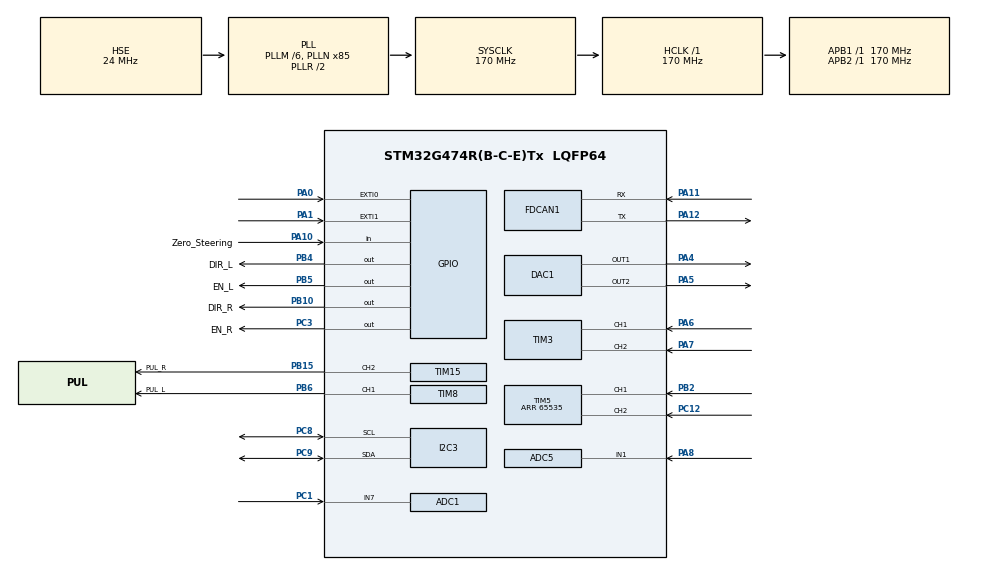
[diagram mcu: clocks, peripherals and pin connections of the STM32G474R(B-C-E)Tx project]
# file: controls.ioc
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ADC1.Channel-1\#ChannelRegularConversion=ADC_CHANNEL_7
ADC1.NbrOfConversionFlag=1
ADC1.OffsetNumber-1\#ChannelRegularConversion=ADC_OFFSET_NONE
ADC1.Rank-1\#ChannelRegularConversion=1
ADC1.SamplingTime-1\#ChannelRegularConversion=ADC_SAMPLETIME_2CYCLES_5
ADC1.master=1
ADC5.Channel-0\#ChannelRegularConversion=ADC_CHANNEL_1
ADC5.NbrOfConversionFlag=1
ADC5.OffsetNumber-0\#ChannelRegularConversion=ADC_OFFSET_NONE
ADC5.Rank-0\#ChannelRegularConversion=1
ADC5.SamplingTime-0\#ChannelRegularConversion=ADC_SAMPLETIME_47CYCLES_5
DAC1.DAC_Channel-DAC_OUT2=DAC_CHANNEL_2
FDCAN1.AutoRetransmission=ENABLE
FDCAN1.CalculateBaudRateNominal=499999
FDCAN1.CalculateTimeBitNominal=2000
FDCAN1.CalculateTimeQuantumNominal=11.764705882352942
FDCAN1.DataPrescaler=17
FDCAN1.DataSyncJumpWidth=6
FDCAN1.DataTimeSeg1=13
FDCAN1.DataTimeSeg2=6
FDCAN1.FrameFormat=FDCAN_FRAME_FD_NO_BRS
FDCAN1.NominalPrescaler=2
FDCAN1.NominalSyncJumpWidth=39
FDCAN1.NominalTimeSeg1=130
FDCAN1.NominalTimeSeg2=39
FDCAN1.StdFiltersNbr=1
FDCAN1.TransmitPause=ENABLE
FDCAN1.TxFifoQueueMode=FDCAN_TX_QUEUE_OPERATION
I2C3.Timing=0x40B285C2
Mcu.Family=STM32G4
Mcu.Name=STM32G474R(B-C-E)Tx
Mcu.Package=LQFP64
NUCLEO-G474RE.BUTTON=0
NUCLEO-G474RE.LD2=false
NUCLEO-G474RE.VCP=true
NVIC.EXTI0_IRQn=true\:0\:0\:false\:false\:true\:true\:true\:true
NVIC.EXTI1_IRQn=true\:0\:0\:false\:false\:true\:true\:true\:true
NVIC.PriorityGroup=NVIC_PRIORITYGROUP_4
NVIC.TIM2_IRQn=true\:0\:0\:false\:false\:true\:true\:true\:true
PA0.GPIO_ModeDefaultEXTI=GPIO_MODE_IT_RISING_FALLING
PA0.GPIO_PuPd=GPIO_PULLUP
PA0.Signal=GPXTI0
PA1.GPIO_ModeDefaultEXTI=GPIO_MODE_IT_RISING_FALLING
PA1.GPIO_PuPd=GPIO_PULLUP
PA1.Signal=GPXTI1
PA10.GPIO_Label=Zero_Steering
PA10.GPIO_PuPd=GPIO_PULLDOWN
PA10.Signal=GPIO_Input
PA11.Mode=FDCAN_Activate
PA11.Signal=FDCAN1_RX
PA12.Mode=FDCAN_Activate
PA12.Signal=FDCAN1_TX
PA2.Signal=LPUART1_TX
PA3.Signal=LPUART1_RX
PA4.Signal=COMP_DAC11_group
PA5.Signal=COMP_DAC12_group
PA6.Signal=S_TIM3_CH1
PA7.Signal=S_TIM3_CH2
PA8.Mode=IN1-Single-Ended
PA8.Signal=ADC5_IN1
PB10.GPIO_Label=DIR_R
PB10.Signal=GPIO_Output
PB15.GPIO_Label=PUL_R
PB15.Signal=S_TIM15_CH2
PB2.Signal=S_TIM5_CH1
PB4.GPIO_Label=DIR_L
PB4.Signal=GPIO_Output
PB5.GPIO_Label=EN_L
PB5.Signal=GPIO_Output
PB6.GPIO_Label=PUL_L
PB6.Signal=S_TIM8_CH1
PC1.Mode=IN7-Single-Ended
PC1.Signal=ADC1_IN7
PC12.Signal=S_TIM5_CH2
PC3.GPIO_Label=EN_R
PC3.Signal=GPIO_Output
PC8.Mode=I2C
PC8.Signal=I2C3_SCL
PC9.Mode=I2C
PC9.Signal=I2C3_SDA
PF0-OSC_IN.Mode=HSE-External-Oscillator
PF0-OSC_IN.Signal=RCC_OSC_IN
PF1-OSC_OUT.Mode=HSE-External-Oscillator
PF1-OSC_OUT.Signal=RCC_OSC_OUT
ProjectManager.HeapSize=0x200
ProjectManager.StackSize=0x400
ProjectManager.TargetToolchain=STM32CubeIDE
RCC.ADC12Freq_Value=170000000
RCC.ADC345Freq_Value=170000000
RCC.AHBFreq_Value=170000000
RCC.APB1Freq_Value=170000000
RCC.APB1TimFreq_Value=170000000
RCC.APB2Freq_Value=170000000
RCC.APB2TimFreq_Value=170000000
RCC.CortexFreq_Value=170000000
RCC.EXTERNAL_CLOCK_VALUE=12288000
RCC.HCLKFreq_Value=170000000
RCC.HSE_VALUE=24000000
RCC.HSI48_VALUE=48000000
RCC.HSI_VALUE=16000000
RCC.LSE_VALUE=32768
RCC.PLLM=RCC_PLLM_DIV6
RCC.PLLN=85
RCC.PLLSourceVirtual=RCC_PLLSOURCE_HSE
RCC.RTCClockSelection=RCC_RTCCLKSOURCE_LSE
RCC.SYSCLKFreq_VALUE=170000000
RCC.SYSCLKSource=RCC_SYSCLKSOURCE_PLLCLK
RCC.USBFreq_Value=170000000
RCC.VCOOutputFreq_Value=340000000
SH.COMP_DAC11_group.0=DAC1_OUT1,DAC_OUT1
SH.COMP_DAC12_group.0=DAC1_OUT2,DAC_OUT2
SH.S_TIM15_CH2.0=TIM15_CH2,PWM Generation2 CH2
SH.S_TIM3_CH1.0=TIM3_CH1,Encoder_Interface
SH.S_TIM3_CH2.0=TIM3_CH2,Encoder_Interface
SH.S_TIM5_CH1.0=TIM5_CH1,Encoder_Interface
SH.S_TIM5_CH2.0=TIM5_CH2,Encoder_Interface
SH.S_TIM8_CH1.0=TIM8_CH1,PWM Generation1 CH1
TIM15.Channel-PWM\ Generation2\ CH2=TIM_CHANNEL_2
TIM15.Prescaler=169
TIM2.Prescaler=169
TIM3.EncoderMode=TIM_ENCODERMODE_TI12
TIM5.EncoderMode=TIM_ENCODERMODE_TI12
TIM5.PeriodNoDither=65535
TIM8.Channel-PWM\ Generation1\ CH1=TIM_CHANNEL_1
VP_NUCLEO-G474RE_VS_BSP_COMMON.Mode=COMMON
VP_SYS_VS_DBSignals.Mode=DisableDeadBatterySignals
VP_TIM15_VS_ClockSourceINT.Mode=Internal
VP_TIM2_VS_ClockSourceINT.Mode=Internal
VP_TIM8_VS_ClockSourceINT.Mode=Internal
board=NUCLEO-G474RE

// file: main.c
/* USER CODE BEGIN Header */
/**
 ******************************************************************************
 * @file    main.c
 * @Authors: Tim and Daniel
 * @brief   Dual closed-loop stepper control - Solar Boat project
 *          Regen-safe: every custom edit lives inside a USER CODE block.
 *
 *   Control architecture:
 *
 *     AS5600 wheel (ADC5_IN1 / PA8) ── steering_tick() ──> shared target_deg
 *                                                              │
 *                                       ┌──────────────────────┴────────────────────┐
 *                                       ▼                                           ▼
 *                              LEFT P controller                          RIGHT P controller
 *                              err = target - enc_L                       err = target - enc_R
 *                                       │                                           │
 *                                       ▼                                           ▼
 *                              stepper_run(&stepper_left,  cmd_L)         stepper_run(&stepper_right, cmd_R)
 *
 *   Each motor closes the loop on its OWN encoder, so a stall or slip in
 *   one motor doesn't affect the other.  They share the setpoint from the
 *   AS5600 steering wheel.
 *
 *   Position-control API:
 *       stepper_set_target_deg() / stepper_move_deg()
 *       stepper_get_target_deg()
 *       stepper_get_left_deg()  / stepper_get_right_deg()
 *       stepper_at_target()  (both axes within deadband)
 *       stepper_position_tick()
 *
 *   Two encoders, one per motor:
 *       TIM3 (PA6/PA7)  -> LEFT  motor  -> encoder_left_get_deg()
 *       TIM5            -> RIGHT motor  -> encoder_right_get_deg()
 *   encoder_zero() captures both at startup.
 *
 *   Regen-safe overrides (do not move out of USER CODE blocks):
 *     - USER CODE BEGIN TIM2_Init 2  : PSC = STEP_TIM_PSC + EGR.UG
 *     - USER CODE BEGIN TIM8_Init 2  : PSC = STEP_TIM_PSC + EGR.UG
 *     - USER CODE BEGIN TIM15_Init 2 : PSC = STEP_TIM_PSC + EGR.UG
 ******************************************************************************
 */
/* USER CODE END Header */
#include "main.h"

/* USER CODE BEGIN Includes */
#include <stdio.h>
#include <math.h>
/* USER CODE END Includes */

/* USER CODE BEGIN PTD */
typedef struct {
    /* Hardware */
    TIM_HandleTypeDef *htim;
    uint32_t           channel;
    GPIO_TypeDef      *dir_port;
    uint16_t           dir_pin;
    GPIO_TypeDef      *en_port;
    uint16_t           en_pin;
    uint8_t            invert_dir;

    /* Runtime state */
    uint8_t  enabled;
    uint8_t  enable_wait;
    uint32_t enable_tick;
    uint8_t  dir;
    uint8_t  dir_chg;
    uint32_t dir_tick;
    float    speed;
    float    rate_out;
} stepper_t;
/* USER CODE END PTD */

/* USER CODE BEGIN PD */
/* --- Timer / pulse-rate base settings --- */
#define STEP_TIM_PSC               169U
#define STEP_TIM_CLK_HZ            1000000.0f
#define STEPS_PER_REV              3200UL

#define STEP_RATE_MAX              60000.0f
#define STEP_RATE_MIN              200.0f

#define RAMP_UP_SLEW               800.0f
#define RAMP_DOWN_SLEW             2000.0f
#define DIR_CHANGE_RAMP_HZ         2000.0f

#define STEPPER_ENABLE_SETTLE_MS   5U
#define DIR_CHANGE_SETTLE_MS       2U

#define RATE_STEPPER_MS            2U

/* --- Mechanical / position control --- */
#define GEAR_RATIO                 20.0f
#define STEPS_PER_OUT_DEG          ((float)STEPS_PER_REV * GEAR_RATIO / 360.0f)
#define POS_PEAK_PPS               RPM_TO_PPS(400.0f)
#define POS_KP                     30.0f
#define POS_DEADBAND_STEPS         250.0f  // ±1.5° of deadband

/* --- Encoder readback ---
 * One sign per encoder so each can be flipped independently on the bench. */
#define ENCODER_SIGN_LEFT          -1.0f
#define ENCODER_SIGN_RIGHT         -1.0f
#define ENCODER_COUNTS_PER_REV     4000U

/* --- AS5600 steering wheel input (analog on ADC5_IN1 / PA8) --- */
#define AS5600_SIGN                +1.0f
#define AS5600_FILT_ALPHA          0.15f
#define AS5600_OVERSAMPLE          8
#define AS5600_FAIL_LIMIT          5U

/* --- Steering wheel -> rudder mapping ---
 * STEER_RUDDER_RANGE_DEG : max rudder target in degrees (saturates).
 * STEER_GAIN             : output_deg per wheel_deg.  1.0 = 1:1.
 * STEER_TARGET_DEADBAND_DEG : if |wheel| < this, target = 0. */
#define STEER_RUDDER_RANGE_DEG     35.0f
#define STEER_GAIN                 0.5f  // 2:1 wheel:rudder
#define STEER_TARGET_DEADBAND_DEG  1.0f
/* USER CODE END PD */

/* USER CODE BEGIN PM */
#define RPM_TO_PPS(rpm)    ((float)(rpm) * (float)STEPS_PER_REV / 60.0f)
#define PPS_TO_RPM(pps)    ((float)(pps) * 60.0f / (float)STEPS_PER_REV)
/* USER CODE END PM */

COM_InitTypeDef BspCOMInit;
ADC_HandleTypeDef hadc1;
ADC_HandleTypeDef hadc5;

DAC_HandleTypeDef hdac1;

FDCAN_HandleTypeDef hfdcan1;

I2C_HandleTypeDef hi2c3;

TIM_HandleTypeDef htim2;
TIM_HandleTypeDef htim3;
TIM_HandleTypeDef htim5;
TIM_HandleTypeDef htim8;
TIM_HandleTypeDef htim15;

/* USER CODE BEGIN PV */
stepper_t stepper_left = {
    .htim       = &htim8,
    .channel    = TIM_CHANNEL_1,
    .dir_port   = GPIOB,
    .dir_pin    = DIR_L_Pin,
    .en_port    = GPIOB,
    .en_pin     = EN_L_Pin,
    .invert_dir = 0
};

stepper_t stepper_right = {
    .htim       = &htim15,
    .channel    = TIM_CHANNEL_2,
    .dir_port   = GPIOB,
    .dir_pin    = DIR_R_Pin,
    .en_port    = GPIOC,
    .en_pin     = EN_R_Pin,
    .invert_dir = 0
};

/* Loop scheduling */
static uint32_t last_tick   = 0;
static uint32_t last_print  = 0;

/* Encoder zero references - stored as raw uint16 counter snapshots so the
 * delta computation is wrap-correct via modular subtraction. */
static uint16_t encoder_left_zero_raw  = 0;
static uint16_t encoder_right_zero_raw = 0;

/* Position-control state.  Units = MOTOR steps.  One target shared by
 * both axes (both motors track the same wheel-derived angle), but each
 * axis has its own measured-position cache fed from its own encoder. */
static float    pos_target_steps        = 0.0f;
static float    pos_current_left_steps  = 0.0f;
static float    pos_current_right_steps = 0.0f;

/* AS5600 steering-wheel feedback state. */
static float    as5600_deg          = 0.0f;
static float    as5600_zero_deg     = -1.0f;
static uint8_t  as5600_ok           = 0U;
static uint16_t as5600_fail_count   = 0U;
/* USER CODE END PV */

void SystemClock_Config(void);
static void MX_GPIO_Init(void);
static void MX_I2C3_Init(void);
static void MX_ADC1_Init(void);
static void MX_TIM2_Init(void);
static void MX_FDCAN1_Init(void);
static void MX_TIM8_Init(void);
static void MX_DAC1_Init(void);
static void MX_TIM15_Init(void);
static void MX_TIM3_Init(void);
static void MX_ADC5_Init(void);
static void MX_TIM5_Init(void);
/* USER CODE BEGIN PFP */
static void stepper_write_rate(stepper_t *s, float rate_pps);
static void stepper_write_dir(stepper_t *s, uint8_t positive);
static void stepper_write_enable(stepper_t *s, uint8_t enable);
void stepper_init(stepper_t *s);
void stepper_hard_stop(stepper_t *s);
void stepper_run(stepper_t *s, float cmd_pps);
void stepper_run_both(float cmd_pps);
void stepper_stop_both(void);

static void  encoder_zero(void);
static float encoder_left_get_deg(void);
static float encoder_right_get_deg(void);

void    stepper_set_target_deg(float output_deg);
void    stepper_move_deg(float output_deg_delta);
float   stepper_get_target_deg(void);
float   stepper_get_left_deg(void);
float   stepper_get_right_deg(void);
uint8_t stepper_at_target(void);
void    stepper_position_tick(void);

/* AS5600 steering-wheel input */
static float as5600_read_deg(void);
static void  as5600_tick(void);
float        as5600_get_wheel_deg(void);
void         as5600_zero_capture(void);
uint8_t      as5600_is_healthy(void);
void         steering_tick(void);
/* USER CODE END PFP */

/* USER CODE BEGIN 0 */
static void stepper_write_rate(stepper_t *s, float rate_pps)
{
    if (rate_pps < STEP_RATE_MIN)
    {
        __HAL_TIM_SET_COMPARE(s->htim, s->channel, 0U);
        s->htim->Instance->EGR = TIM_EGR_UG;
        return;
    }

    if (rate_pps > STEP_RATE_MAX) rate_pps = STEP_RATE_MAX;

    uint32_t arr = (uint32_t)((STEP_TIM_CLK_HZ / rate_pps) - 1.0f);

    if (arr < 10U)    arr = 10U;
    if (arr > 65535U) arr = 65535U;

    __HAL_TIM_SET_AUTORELOAD(s->htim, arr);
    __HAL_TIM_SET_COMPARE(s->htim, s->channel, arr / 2U);
    s->htim->Instance->EGR = TIM_EGR_UG;
}

static void stepper_write_dir(stepper_t *s, uint8_t positive)
{
    uint8_t actual = s->invert_dir ? (uint8_t)(!positive) : positive;
    HAL_GPIO_WritePin(s->dir_port, s->dir_pin,
                      actual ? GPIO_PIN_SET : GPIO_PIN_RESET);
}

static void stepper_write_enable(stepper_t *s, uint8_t enable)
{
    HAL_GPIO_WritePin(s->en_port, s->en_pin,
                      enable ? GPIO_PIN_RESET : GPIO_PIN_SET);
}

void stepper_init(stepper_t *s)
{
    stepper_write_rate(s, 0.0f);
    stepper_write_enable(s, 0);

    s->enabled      = 0U;
    s->enable_wait  = 0U;
    s->enable_tick  = 0U;
    s->dir          = 1U;
    s->dir_chg      = 0U;
    s->dir_tick     = 0U;
    s->speed        = 0.0f;
    s->rate_out     = 0.0f;

    s->htim->Instance->BDTR |= TIM_BDTR_MOE;
}

void stepper_hard_stop(stepper_t *s)
{
    stepper_write_rate(s, 0.0f);
    stepper_write_enable(s, 0);

    s->enabled      = 0U;
    s->enable_wait  = 0U;
    s->speed        = 0.0f;
    s->rate_out     = 0.0f;
}

void stepper_run(stepper_t *s, float cmd_pps)
{
    uint32_t now      = HAL_GetTick();
    uint8_t  want_dir = (cmd_pps >= 0.0f) ? 1U : 0U;
    float    target   = fabsf(cmd_pps);

    if (target > STEP_RATE_MAX) target = STEP_RATE_MAX;

    if (s->enable_wait)
    {
        if ((now - s->enable_tick) < STEPPER_ENABLE_SETTLE_MS)
        {
            stepper_write_rate(s, 0.0f);
            s->rate_out = 0.0f;
            return;
        }
        s->enable_wait = 0U;
        s->enabled     = 1U;
        if (s->speed < STEP_RATE_MIN) s->speed = STEP_RATE_MIN;
    }

    if (s->dir_chg)
    {
        if ((now - s->dir_tick) < DIR_CHANGE_SETTLE_MS)
        {
            stepper_write_rate(s, 0.0f);
            s->rate_out = 0.0f;
            return;
        }
        s->dir_chg = 0U;
        s->speed   = STEP_RATE_MIN;
    }

    if ((target >= STEP_RATE_MIN) && (want_dir != s->dir))
    {
        if (s->speed > DIR_CHANGE_RAMP_HZ)
        {
            s->speed -= RAMP_DOWN_SLEW;
            if (s->speed < DIR_CHANGE_RAMP_HZ) s->speed = DIR_CHANGE_RAMP_HZ;

            if (!s->enabled && !s->enable_wait)
            {
                stepper_write_dir(s, s->dir);
                stepper_write_enable(s, 1);
                s->enable_wait = 1U;
                s->enable_tick = now;
                s->rate_out    = 0.0f;
                return;
            }

            stepper_write_rate(s, s->speed);
            s->rate_out = s->dir ? s->speed : -s->speed;
            return;
        }

        stepper_write_rate(s, 0.0f);
        s->dir = want_dir;
        stepper_write_dir(s, s->dir);
        s->dir_chg  = 1U;
        s->dir_tick = now;
        s->speed    = 0.0f;
        s->rate_out = 0.0f;
        return;
    }

    if (target < STEP_RATE_MIN)
    {
        if (s->speed > 0.0f)
        {
            s->speed -= RAMP_DOWN_SLEW;
            if (s->speed <= STEP_RATE_MIN)
            {
                stepper_hard_stop(s);
                return;
            }
        }
        else
        {
            stepper_hard_stop(s);
            return;
        }
    }
    else if (s->speed < target)
    {
        s->speed += RAMP_UP_SLEW;
        if (s->speed > target) s->speed = target;
    }
    else if (s->speed > target)
    {
        s->speed -= RAMP_DOWN_SLEW;
        if (s->speed < target) s->speed = target;
        if (s->speed < STEP_RATE_MIN)
        {
            stepper_hard_stop(s);
            return;
        }
    }

    if (!s->enabled && !s->enable_wait)
    {
        stepper_write_dir(s, s->dir);
        stepper_write_enable(s, 1);
        s->enable_wait = 1U;
        s->enable_tick = now;
        s->rate_out    = 0.0f;
        return;
    }

    stepper_write_rate(s, s->speed);
    s->rate_out = s->dir ? s->speed : -s->speed;
}

void stepper_run_both(float cmd_pps)
{
    stepper_run(&stepper_left,  cmd_pps);
    stepper_run(&stepper_right, cmd_pps);
}

void stepper_stop_both(void)
{
    stepper_hard_stop(&stepper_left);
    stepper_hard_stop(&stepper_right);
}

/* ---------------------------------------------------------------------------
 * Encoder readback - one timer per motor in TIM_ENCODERMODE_TI12.
 *
 *   TIM3 quadrature on PA6/PA7  -> LEFT  motor
 *   TIM5 quadrature on its pins -> RIGHT motor
 *
 * Wrap-correct delta: we snapshot the raw uint16 counter at zero, then
 * each read subtracts uint16 - uint16 (modular) and casts the result to
 * int16 for the signed shortest path.  This gives correct deltas across
 * the 0x0000/0xFFFF boundary regardless of where the counter happened to
 * be at startup, as long as motion between calls stays under ±32767
 * quadrature edges (which is ±147 deg at output with our gear ratio -
 * far more than the rudder will ever move per call).
 * --------------------------------------------------------------------------- */
static void encoder_zero(void)
{
    encoder_left_zero_raw  = (uint16_t)__HAL_TIM_GET_COUNTER(&htim3);
    encoder_right_zero_raw = (uint16_t)__HAL_TIM_GET_COUNTER(&htim5);
}

static float encoder_left_get_deg(void)
{
    uint16_t now = (uint16_t)__HAL_TIM_GET_COUNTER(&htim3);
    int16_t  delta = (int16_t)(now - encoder_left_zero_raw);
    return ENCODER_SIGN_LEFT *
           ((float)delta * 360.0f) /
           ((float)ENCODER_COUNTS_PER_REV * GEAR_RATIO);
}

static float encoder_right_get_deg(void)
{
    uint16_t now = (uint16_t)__HAL_TIM_GET_COUNTER(&htim5);
    int16_t  delta = (int16_t)(now - encoder_right_zero_raw);
    return ENCODER_SIGN_RIGHT *
           ((float)delta * 360.0f) /
           ((float)ENCODER_COUNTS_PER_REV * GEAR_RATIO);
}

/* ---------------------------------------------------------------------------
 * Wrap-aware angle helpers (used by the AS5600 IIR filter so a step from
 * 359 -> 1 reads as +2 instead of -358).
 * --------------------------------------------------------------------------- */
static float angle_wrap_360(float deg)
{
    while (deg >= 360.0f) deg -= 360.0f;
    while (deg <    0.0f) deg += 360.0f;
    return deg;
}

static float angle_diff_deg(float target, float current)
{
    float d = target - current;
    while (d >  180.0f) d -= 360.0f;
    while (d < -180.0f) d += 360.0f;
    return d;
}

/* ---------------------------------------------------------------------------
 * AS5600 analog read on ADC5_IN1 (PA8) - 0..3V3 = 0..360 deg.  Oversamples
 * AS5600_OVERSAMPLE times to knock down noise.  Returns -1.0 on error.
 * --------------------------------------------------------------------------- */
static float as5600_read_deg(void)
{
    uint32_t sum = 0;
    for (int i = 0; i < AS5600_OVERSAMPLE; i++)
    {
        HAL_ADC_Start(&hadc5);
        if (HAL_ADC_PollForConversion(&hadc5, 5) != HAL_OK)
        {
            HAL_ADC_Stop(&hadc5);
            return -1.0f;
        }
        sum += HAL_ADC_GetValue(&hadc5);
        HAL_ADC_Stop(&hadc5);
    }
    uint16_t avg = (uint16_t)(sum / AS5600_OVERSAMPLE);
    return ((float)avg * 360.0f) / 4096.0f;
}

static void as5600_tick(void)
{
    float v = as5600_read_deg();

    if (v >= 0.0f)
    {
        if (as5600_zero_deg < 0.0f)
        {
            /* First valid read: seed filter AND capture boot zero. */
            as5600_deg      = v;
            as5600_zero_deg = v;
        }
        else
        {
            float d = angle_diff_deg(v, as5600_deg);
            as5600_deg = angle_wrap_360(as5600_deg + AS5600_FILT_ALPHA * d);
        }
        as5600_ok         = 1U;
        as5600_fail_count = 0U;
    }
    else
    {
        if (as5600_fail_count < 0xFFFFU) as5600_fail_count++;
        if (as5600_fail_count >= AS5600_FAIL_LIMIT) as5600_ok = 0U;
    }
}

float as5600_get_wheel_deg(void)
{
    if (as5600_zero_deg < 0.0f) return 0.0f;
    return AS5600_SIGN * angle_diff_deg(as5600_deg, as5600_zero_deg);
}

void as5600_zero_capture(void)
{
    if (as5600_ok) as5600_zero_deg = as5600_deg;
}

uint8_t as5600_is_healthy(void)
{
    return as5600_ok;
}

/* ---------------------------------------------------------------------------
 * Steering tick - reads AS5600, runs button re-zero, computes the rudder
 * target with gain/deadband/clamp, pushes it into the position controller.
 * If the wheel sensor is unhealthy, target is FROZEN (rudder holds).
 * --------------------------------------------------------------------------- */
void steering_tick(void)
{
    as5600_tick();

    /* Optional runtime re-zero: hold the Zero_Steering button (PULLDOWN,
     * HIGH = pressed) while the wheel is centred to reset the logical zero. */
    if (HAL_GPIO_ReadPin(Zero_Steering_GPIO_Port, Zero_Steering_Pin) == GPIO_PIN_SET)
    {
        as5600_zero_capture();
    }

    if (!as5600_is_healthy()) return;

    float wheel  = as5600_get_wheel_deg();
    float target = wheel * STEER_GAIN;

    if (fabsf(target) < STEER_TARGET_DEADBAND_DEG) target = 0.0f;
    if (target >  STEER_RUDDER_RANGE_DEG) target =  STEER_RUDDER_RANGE_DEG;
    if (target < -STEER_RUDDER_RANGE_DEG) target = -STEER_RUDDER_RANGE_DEG;

    stepper_set_target_deg(target);
}

/* ---------------------------------------------------------------------------
 * Position control API - CLOSED-LOOP per axis.
 *
 *   stepper_set_target_deg(d)   absolute target in OUTPUT degrees (shared
 *                               by both motors)
 *   stepper_move_deg(d)         relative shift of target
 *   stepper_get_target_deg()    current target
 *   stepper_get_left_deg()      LEFT  measured position (encoder TIM3)
 *   stepper_get_right_deg()     RIGHT measured position (encoder TIM5)
 *   stepper_at_target()         1 when BOTH axes are within deadband
 *   stepper_position_tick()     run one control tick (every RATE_STEPPER_MS)
 *
 * Each motor runs an independent P controller against its OWN encoder.
 * That means if the left motor stalls, only the left motor sees high
 * error and gets pushed harder; the right motor isn't fighting against
 * the left's failure.  If they were sharing a single command (as in
 * stepper_run_both), a stalled left motor would still get a small
 * command because pos_current_steps would be near target.
 * --------------------------------------------------------------------------- */
void stepper_set_target_deg(float output_deg)
{
    pos_target_steps = output_deg * STEPS_PER_OUT_DEG;
}

void stepper_move_deg(float output_deg_delta)
{
    pos_target_steps += output_deg_delta * STEPS_PER_OUT_DEG;
}

float stepper_get_target_deg(void)
{
    return pos_target_steps / STEPS_PER_OUT_DEG;
}

float stepper_get_left_deg(void)
{
    return encoder_left_get_deg();
}

float stepper_get_right_deg(void)
{
    return encoder_right_get_deg();
}

uint8_t stepper_at_target(void)
{
    float err_l = pos_target_steps - pos_current_left_steps;
    float err_r = pos_target_steps - pos_current_right_steps;
    return (fabsf(err_l) < POS_DEADBAND_STEPS) &&
           (fabsf(err_r) < POS_DEADBAND_STEPS);
}

/* Per-axis P controller.  Called twice per tick - once per motor.
 * Reads THIS motor's encoder, computes THIS motor's error against the
 * shared target, commands ONLY this motor. */
static void axis_position_tick(stepper_t *s,
                               float    measured_deg,
                               float   *current_steps_out)
{
    *current_steps_out = measured_deg * STEPS_PER_OUT_DEG;

    float error = pos_target_steps - *current_steps_out;
    float cmd_pps;

    if (fabsf(error) < POS_DEADBAND_STEPS)
    {
        cmd_pps = 0.0f;
    }
    else
    {
        cmd_pps = error * POS_KP;
        if (cmd_pps >  POS_PEAK_PPS) cmd_pps =  POS_PEAK_PPS;
        if (cmd_pps < -POS_PEAK_PPS) cmd_pps = -POS_PEAK_PPS;
    }

    stepper_run(s, cmd_pps);
}

void stepper_position_tick(void)
{
    /* LEFT axis - closes on TIM3 encoder, commands only stepper_left. */
    axis_position_tick(&stepper_left,
                       encoder_left_get_deg(),
                       &pos_current_left_steps);

    /* RIGHT axis - closes on TIM5 encoder, commands only stepper_right. */
    axis_position_tick(&stepper_right,
                       encoder_right_get_deg(),
                       &pos_current_right_steps);
}
/* USER CODE END 0 */

int main(void)
{

  /* MCU Configuration--------------------------------------------------------*/

  /* Reset of all peripherals, Initializes the Flash interface and the Systick. */
  HAL_Init();

  /* Configure the system clock */
  SystemClock_Config();

  /* Initialize all configured peripherals */
  MX_GPIO_Init();
  MX_I2C3_Init();
  MX_ADC1_Init();
  MX_TIM2_Init();
  MX_FDCAN1_Init();
  MX_TIM8_Init();
  MX_DAC1_Init();
  MX_TIM15_Init();
  MX_TIM3_Init();
  MX_ADC5_Init();
  MX_TIM5_Init();
  /* USER CODE BEGIN 2 */
  HAL_TIM_Base_Start(&htim2);

  HAL_TIM_PWM_Start(&htim8,  TIM_CHANNEL_1);
  HAL_TIM_PWM_Start(&htim15, TIM_CHANNEL_2);

  stepper_init(&stepper_left);
  stepper_init(&stepper_right);

  /* Start both encoder timers BEFORE encoder_zero() so both snapshots
   * are taken with the counters live. */
  if (HAL_TIM_Encoder_Start(&htim3, TIM_CHANNEL_ALL) != HAL_OK)
      Error_Handler();
  if (HAL_TIM_Encoder_Start(&htim5, TIM_CHANNEL_ALL) != HAL_OK)
      Error_Handler();
  encoder_zero();

  /* Try to prime the AS5600 so the boot-zero is captured before the
   * control loop runs.  Non-fatal if it doesn't respond - steering_tick()
   * will keep the target frozen at 0 until the sensor recovers. */
  for (int i = 0; i < 50 && !as5600_is_healthy(); i++)
  {
      as5600_tick();
      HAL_Delay(2);
  }

  BspCOMInit.BaudRate   = 115200;
  BspCOMInit.WordLength = COM_WORDLENGTH_8B;
  BspCOMInit.StopBits   = COM_STOPBITS_1;
  BspCOMInit.Parity     = COM_PARITY_NONE;
  BspCOMInit.HwFlowCtl  = COM_HWCONTROL_NONE;
  BSP_COM_Init(COM1, &BspCOMInit);

  printf("Solar Boat - dual closed-loop stepper control.\r\n");
  printf("STEPS_PER_REV=%lu  GEAR=%.1f:1  STEPS_PER_OUT_DEG=%.2f\r\n",
         STEPS_PER_REV, (double)GEAR_RATIO, (double)STEPS_PER_OUT_DEG);
  printf("POS_PEAK_PPS=%.0f (%.1f motor RPM)  POS_KP=%.1f  DEADBAND=%.0f steps\r\n",
         (double)POS_PEAK_PPS, (double)PPS_TO_RPM(POS_PEAK_PPS),
         (double)POS_KP, (double)POS_DEADBAND_STEPS);
  printf("Steering: range=+/-%.1f deg  gain=%.2f  deadband=%.1f deg  AS5600=%s\r\n",
         (double)STEER_RUDDER_RANGE_DEG, (double)STEER_GAIN,
         (double)STEER_TARGET_DEADBAND_DEG,
         as5600_is_healthy() ? "OK" : "MISSING");

  last_tick  = HAL_GetTick();
  last_print = HAL_GetTick();
  /* USER CODE END 2 */

  /* Initialize COM1 port (115200, 8 bits (7-bit data + 1 stop bit), no parity */
  BspCOMInit.BaudRate   = 115200;
  BspCOMInit.WordLength = COM_WORDLENGTH_8B;
  BspCOMInit.StopBits   = COM_STOPBITS_1;
  BspCOMInit.Parity     = COM_PARITY_NONE;
  BspCOMInit.HwFlowCtl  = COM_HWCONTROL_NONE;
  if (BSP_COM_Init(COM1, &BspCOMInit) != BSP_ERROR_NONE)
  {
    Error_Handler();
  }

  /* Infinite loop */
  /* USER CODE BEGIN WHILE */
  while (1)
  {
      uint32_t now = HAL_GetTick();

      /* --- Control tick: wheel -> target -> per-motor closed-loop --- */
      if (now - last_tick >= RATE_STEPPER_MS)
      {
          steering_tick();          /* AS5600 wheel -> stepper_set_target_deg */
          stepper_position_tick();  /* each motor closes on its own encoder  */
          last_tick = now;
      }

      /* --- 10 Hz status: target vs each motor's measured position --- */
      if (now - last_print >= 100U)
      {
          printf("TGT=%+7.2f  ENC_L=%+7.2f  ENC_R=%+7.2f  err_L=%+7.2f  err_R=%+7.2f  at_tgt=%u\r\n",
                 (double)stepper_get_target_deg(),
                 (double)stepper_get_left_deg(),
                 (double)stepper_get_right_deg(),
                 (double)(stepper_get_target_deg() - stepper_get_left_deg()),
                 (double)(stepper_get_target_deg() - stepper_get_right_deg()),
                 stepper_at_target());
          last_print = now;
      }
    /* USER CODE END WHILE */

  }
}

void SystemClock_Config(void)
{
  RCC_OscInitTypeDef RCC_OscInitStruct = {0};
  RCC_ClkInitTypeDef RCC_ClkInitStruct = {0};

  /** Configure the main internal regulator output voltage
  */
  HAL_PWREx_ControlVoltageScaling(PWR_REGULATOR_VOLTAGE_SCALE1_BOOST);

  /** Initializes the RCC Oscillators according to the specified parameters
  * in the RCC_OscInitTypeDef structure.
  */
  RCC_OscInitStruct.OscillatorType = RCC_OSCILLATORTYPE_HSE;
  RCC_OscInitStruct.HSEState = RCC_HSE_ON;
  RCC_OscInitStruct.PLL.PLLState = RCC_PLL_ON;
  RCC_OscInitStruct.PLL.PLLSource = RCC_PLLSOURCE_HSE;
  RCC_OscInitStruct.PLL.PLLM = RCC_PLLM_DIV6;
  RCC_OscInitStruct.PLL.PLLN = 85;
  RCC_OscInitStruct.PLL.PLLP = RCC_PLLP_DIV2;
  RCC_OscInitStruct.PLL.PLLQ = RCC_PLLQ_DIV2;
  RCC_OscInitStruct.PLL.PLLR = RCC_PLLR_DIV2;
  if (HAL_RCC_OscConfig(&RCC_OscInitStruct) != HAL_OK)
  {
    Error_Handler();
  }

  /** Initializes the CPU, AHB and APB buses clocks
  */
  RCC_ClkInitStruct.ClockType = RCC_CLOCKTYPE_HCLK|RCC_CLOCKTYPE_SYSCLK
                              |RCC_CLOCKTYPE_PCLK1|RCC_CLOCKTYPE_PCLK2;
  RCC_ClkInitStruct.SYSCLKSource = RCC_SYSCLKSOURCE_PLLCLK;
  RCC_ClkInitStruct.AHBCLKDivider = RCC_SYSCLK_DIV1;
  RCC_ClkInitStruct.APB1CLKDivider = RCC_HCLK_DIV1;
  RCC_ClkInitStruct.APB2CLKDivider = RCC_HCLK_DIV1;

  if (HAL_RCC_ClockConfig(&RCC_ClkInitStruct, FLASH_LATENCY_4) != HAL_OK)
  {
    Error_Handler();
  }
}

static void MX_ADC1_Init(void)
{

  ADC_MultiModeTypeDef multimode = {0};
  ADC_ChannelConfTypeDef sConfig = {0};

  /** Common config
  */
  hadc1.Instance = ADC1;
  hadc1.Init.ClockPrescaler = ADC_CLOCK_SYNC_PCLK_DIV4;
  hadc1.Init.Resolution = ADC_RESOLUTION_12B;
  hadc1.Init.DataAlign = ADC_DATAALIGN_RIGHT;
  hadc1.Init.GainCompensation = 0;
  hadc1.Init.ScanConvMode = ADC_SCAN_DISABLE;
  hadc1.Init.EOCSelection = ADC_EOC_SINGLE_CONV;
  hadc1.Init.LowPowerAutoWait = DISABLE;
  hadc1.Init.ContinuousConvMode = DISABLE;
  hadc1.Init.NbrOfConversion = 1;
  hadc1.Init.DiscontinuousConvMode = DISABLE;
  hadc1.Init.ExternalTrigConv = ADC_SOFTWARE_START;
  hadc1.Init.ExternalTrigConvEdge = ADC_EXTERNALTRIGCONVEDGE_NONE;
  hadc1.Init.DMAContinuousRequests = DISABLE;
  hadc1.Init.Overrun = ADC_OVR_DATA_PRESERVED;
  hadc1.Init.OversamplingMode = DISABLE;
  if (HAL_ADC_Init(&hadc1) != HAL_OK)
  {
    Error_Handler();
  }

  /** Configure the ADC multi-mode
  */
  multimode.Mode = ADC_MODE_INDEPENDENT;
  if (HAL_ADCEx_MultiModeConfigChannel(&hadc1, &multimode) != HAL_OK)
  {
    Error_Handler();
  }

  /** Configure Regular Channel
  */
  sConfig.Channel = ADC_CHANNEL_7;
  sConfig.Rank = ADC_REGULAR_RANK_1;
  sConfig.SamplingTime = ADC_SAMPLETIME_2CYCLES_5;
  sConfig.SingleDiff = ADC_SINGLE_ENDED;
  sConfig.OffsetNumber = ADC_OFFSET_NONE;
  sConfig.Offset = 0;
  if (HAL_ADC_ConfigChannel(&hadc1, &sConfig) != HAL_OK)
  {
    Error_Handler();
  }

}

static void MX_ADC5_Init(void)
{

  ADC_ChannelConfTypeDef sConfig = {0};

  /** Common config
  */
  hadc5.Instance = ADC5;
  hadc5.Init.ClockPrescaler = ADC_CLOCK_SYNC_PCLK_DIV4;
  hadc5.Init.Resolution = ADC_RESOLUTION_12B;
  hadc5.Init.DataAlign = ADC_DATAALIGN_RIGHT;
  hadc5.Init.GainCompensation = 0;
  hadc5.Init.ScanConvMode = ADC_SCAN_DISABLE;
  hadc5.Init.EOCSelection = ADC_EOC_SINGLE_CONV;
  hadc5.Init.LowPowerAutoWait = DISABLE;
  hadc5.Init.ContinuousConvMode = DISABLE;
  hadc5.Init.NbrOfConversion = 1;
  hadc5.Init.DiscontinuousConvMode = DISABLE;
  hadc5.Init.ExternalTrigConv = ADC_SOFTWARE_START;
  hadc5.Init.ExternalTrigConvEdge = ADC_EXTERNALTRIGCONVEDGE_NONE;
  hadc5.Init.DMAContinuousRequests = DISABLE;
  hadc5.Init.Overrun = ADC_OVR_DATA_PRESERVED;
  hadc5.Init.OversamplingMode = DISABLE;
  if (HAL_ADC_Init(&hadc5) != HAL_OK)
  {
    Error_Handler();
  }

  /** Configure Regular Channel
  */
  sConfig.Channel = ADC_CHANNEL_1;
  sConfig.Rank = ADC_REGULAR_RANK_1;
  sConfig.SamplingTime = ADC_SAMPLETIME_47CYCLES_5;
  sConfig.SingleDiff = ADC_SINGLE_ENDED;
  sConfig.OffsetNumber = ADC_OFFSET_NONE;
  sConfig.Offset = 0;
  if (HAL_ADC_ConfigChannel(&hadc5, &sConfig) != HAL_OK)
  {
    Error_Handler();
  }

}

static void MX_DAC1_Init(void)
{

  DAC_ChannelConfTypeDef sConfig = {0};

  /** DAC Initialization
  */
  hdac1.Instance = DAC1;
  if (HAL_DAC_Init(&hdac1) != HAL_OK)
  {
    Error_Handler();
  }

  /** DAC channel OUT1 config
  */
  sConfig.DAC_HighFrequency = DAC_HIGH_FREQUENCY_INTERFACE_MODE_AUTOMATIC;
  sConfig.DAC_DMADoubleDataMode = DISABLE;
  sConfig.DAC_SignedFormat = DISABLE;
  sConfig.DAC_SampleAndHold = DAC_SAMPLEANDHOLD_DISABLE;
  sConfig.DAC_Trigger = DAC_TRIGGER_NONE;
  sConfig.DAC_Trigger2 = DAC_TRIGGER_NONE;
  sConfig.DAC_OutputBuffer = DAC_OUTPUTBUFFER_ENABLE;
  sConfig.DAC_ConnectOnChipPeripheral = DAC_CHIPCONNECT_EXTERNAL;
  sConfig.DAC_UserTrimming = DAC_TRIMMING_FACTORY;
  if (HAL_DAC_ConfigChannel(&hdac1, &sConfig, DAC_CHANNEL_1) != HAL_OK)
  {
    Error_Handler();
  }

  /** DAC channel OUT2 config
  */
  if (HAL_DAC_ConfigChannel(&hdac1, &sConfig, DAC_CHANNEL_2) != HAL_OK)
  {
    Error_Handler();
  }

}

static void MX_FDCAN1_Init(void)
{

  hfdcan1.Instance = FDCAN1;
  hfdcan1.Init.ClockDivider = FDCAN_CLOCK_DIV1;
  hfdcan1.Init.FrameFormat = FDCAN_FRAME_FD_NO_BRS;
  hfdcan1.Init.Mode = FDCAN_MODE_NORMAL;
  hfdcan1.Init.AutoRetransmission = ENABLE;
  hfdcan1.Init.TransmitPause = ENABLE;
  hfdcan1.Init.ProtocolException = DISABLE;
  hfdcan1.Init.NominalPrescaler = 2;
  hfdcan1.Init.NominalSyncJumpWidth = 39;
  hfdcan1.Init.NominalTimeSeg1 = 130;
  hfdcan1.Init.NominalTimeSeg2 = 39;
  hfdcan1.Init.DataPrescaler = 17;
  hfdcan1.Init.DataSyncJumpWidth = 6;
  hfdcan1.Init.DataTimeSeg1 = 13;
  hfdcan1.Init.DataTimeSeg2 = 6;
  hfdcan1.Init.StdFiltersNbr = 1;
  hfdcan1.Init.ExtFiltersNbr = 0;
  hfdcan1.Init.TxFifoQueueMode = FDCAN_TX_QUEUE_OPERATION;
  if (HAL_FDCAN_Init(&hfdcan1) != HAL_OK)
  {
    Error_Handler();
  }

}

static void MX_I2C3_Init(void)
{

  hi2c3.Instance = I2C3;
  hi2c3.Init.Timing = 0x40B285C2;
  hi2c3.Init.OwnAddress1 = 0;
  hi2c3.Init.AddressingMode = I2C_ADDRESSINGMODE_7BIT;
  hi2c3.Init.DualAddressMode = I2C_DUALADDRESS_DISABLE;
  hi2c3.Init.OwnAddress2 = 0;
  hi2c3.Init.OwnAddress2Masks = I2C_OA2_NOMASK;
  hi2c3.Init.GeneralCallMode = I2C_GENERALCALL_DISABLE;
  hi2c3.Init.NoStretchMode = I2C_NOSTRETCH_DISABLE;
  if (HAL_I2C_Init(&hi2c3) != HAL_OK)
  {
    Error_Handler();
  }

  /** Configure Analogue filter
  */
  if (HAL_I2CEx_ConfigAnalogFilter(&hi2c3, I2C_ANALOGFILTER_ENABLE) != HAL_OK)
  {
    Error_Handler();
  }

  /** Configure Digital filter
  */
  if (HAL_I2CEx_ConfigDigitalFilter(&hi2c3, 0) != HAL_OK)
  {
    Error_Handler();
  }

}

static void MX_TIM2_Init(void)
{

  TIM_ClockConfigTypeDef sClockSourceConfig = {0};
  TIM_MasterConfigTypeDef sMasterConfig = {0};

  htim2.Instance = TIM2;
  htim2.Init.Prescaler = 169;
  htim2.Init.CounterMode = TIM_COUNTERMODE_UP;
  htim2.Init.Period = 4294967295;
  htim2.Init.ClockDivision = TIM_CLOCKDIVISION_DIV1;
  htim2.Init.AutoReloadPreload = TIM_AUTORELOAD_PRELOAD_DISABLE;
  if (HAL_TIM_Base_Init(&htim2) != HAL_OK)
  {
    Error_Handler();
  }
  sClockSourceConfig.ClockSource = TIM_CLOCKSOURCE_INTERNAL;
  if (HAL_TIM_ConfigClockSource(&htim2, &sClockSourceConfig) != HAL_OK)
  {
    Error_Handler();
  }
  sMasterConfig.MasterOutputTrigger = TIM_TRGO_RESET;
  sMasterConfig.MasterSlaveMode = TIM_MASTERSLAVEMODE_DISABLE;
  if (HAL_TIMEx_MasterConfigSynchronization(&htim2, &sMasterConfig) != HAL_OK)
  {
    Error_Handler();
  }
  /* USER CODE BEGIN TIM2_Init 2 */
  /* Force prescaler to STEP_TIM_PSC (1 MHz tick) regardless of what the
   * .ioc says.  PSC is shadowed - write it, then pulse EGR.UG to latch. */
  htim2.Instance->PSC = STEP_TIM_PSC;
  htim2.Instance->EGR = TIM_EGR_UG;
  /* USER CODE END TIM2_Init 2 */

}

static void MX_TIM3_Init(void)
{

  TIM_Encoder_InitTypeDef sConfig = {0};
  TIM_MasterConfigTypeDef sMasterConfig = {0};

  htim3.Instance = TIM3;
  htim3.Init.Prescaler = 0;
  htim3.Init.CounterMode = TIM_COUNTERMODE_UP;
  htim3.Init.Period = 65535;
  htim3.Init.ClockDivision = TIM_CLOCKDIVISION_DIV1;
  htim3.Init.AutoReloadPreload = TIM_AUTORELOAD_PRELOAD_DISABLE;
  sConfig.EncoderMode = TIM_ENCODERMODE_TI12;
  sConfig.IC1Polarity = TIM_ICPOLARITY_RISING;
  sConfig.IC1Selection = TIM_ICSELECTION_DIRECTTI;
  sConfig.IC1Prescaler = TIM_ICPSC_DIV1;
  sConfig.IC1Filter = 0;
  sConfig.IC2Polarity = TIM_ICPOLARITY_RISING;
  sConfig.IC2Selection = TIM_ICSELECTION_DIRECTTI;
  sConfig.IC2Prescaler = TIM_ICPSC_DIV1;
  sConfig.IC2Filter = 0;
  if (HAL_TIM_Encoder_Init(&htim3, &sConfig) != HAL_OK)
  {
    Error_Handler();
  }
  sMasterConfig.MasterOutputTrigger = TIM_TRGO_RESET;
  sMasterConfig.MasterSlaveMode = TIM_MASTERSLAVEMODE_DISABLE;
  if (HAL_TIMEx_MasterConfigSynchronization(&htim3, &sMasterConfig) != HAL_OK)
  {
    Error_Handler();
  }
  /* USER CODE BEGIN TIM3_Init 2 */
  /* LEFT motor encoder.  PSC must stay 0 so the counter advances one tick
   * per quadrature edge.  Nothing to override here. */
  /* USER CODE END TIM3_Init 2 */

}

static void MX_TIM5_Init(void)
{

  TIM_Encoder_InitTypeDef sConfig = {0};
  TIM_MasterConfigTypeDef sMasterConfig = {0};

  htim5.Instance = TIM5;
  htim5.Init.Prescaler = 0;
  htim5.Init.CounterMode = TIM_COUNTERMODE_UP;
  htim5.Init.Period = 65535;
  htim5.Init.ClockDivision = TIM_CLOCKDIVISION_DIV1;
  htim5.Init.AutoReloadPreload = TIM_AUTORELOAD_PRELOAD_DISABLE;
  sConfig.EncoderMode = TIM_ENCODERMODE_TI12;
  sConfig.IC1Polarity = TIM_ICPOLARITY_RISING;
  sConfig.IC1Selection = TIM_ICSELECTION_DIRECTTI;
  sConfig.IC1Prescaler = TIM_ICPSC_DIV1;
  sConfig.IC1Filter = 0;
  sConfig.IC2Polarity = TIM_ICPOLARITY_RISING;
  sConfig.IC2Selection = TIM_ICSELECTION_DIRECTTI;
  sConfig.IC2Prescaler = TIM_ICPSC_DIV1;
  sConfig.IC2Filter = 0;
  if (HAL_TIM_Encoder_Init(&htim5, &sConfig) != HAL_OK)
  {
    Error_Handler();
  }
  sMasterConfig.MasterOutputTrigger = TIM_TRGO_RESET;
  sMasterConfig.MasterSlaveMode = TIM_MASTERSLAVEMODE_DISABLE;
  if (HAL_TIMEx_MasterConfigSynchronization(&htim5, &sMasterConfig) != HAL_OK)
  {
    Error_Handler();
  }
  /* USER CODE BEGIN TIM5_Init 2 */
  /* RIGHT motor encoder.  PSC must stay 0 so the counter advances one tick
   * per quadrature edge.  Nothing to override here.
   * Note: same as TIM3, the input pins likely need pull-ups (set Pull-up
   * in the CubeMX GPIO tab on the assigned encoder pins) for open-collector
   * encoder outputs to register clean logic levels. */
  /* USER CODE END TIM5_Init 2 */

}

static void MX_TIM8_Init(void)
{

  TIM_ClockConfigTypeDef sClockSourceConfig = {0};
  TIM_MasterConfigTypeDef sMasterConfig = {0};
  TIM_OC_InitTypeDef sConfigOC = {0};
  TIM_BreakDeadTimeConfigTypeDef sBreakDeadTimeConfig = {0};

  htim8.Instance = TIM8;
  htim8.Init.Prescaler = 169;
  htim8.Init.CounterMode = TIM_COUNTERMODE_UP;
  htim8.Init.Period = 65535;
  htim8.Init.ClockDivision = TIM_CLOCKDIVISION_DIV1;
  htim8.Init.RepetitionCounter = 0;
  htim8.Init.AutoReloadPreload = TIM_AUTORELOAD_PRELOAD_DISABLE;
  if (HAL_TIM_Base_Init(&htim8) != HAL_OK)
  {
    Error_Handler();
  }
  sClockSourceConfig.ClockSource = TIM_CLOCKSOURCE_INTERNAL;
  if (HAL_TIM_ConfigClockSource(&htim8, &sClockSourceConfig) != HAL_OK)
  {
    Error_Handler();
  }
  if (HAL_TIM_PWM_Init(&htim8) != HAL_OK)
  {
    Error_Handler();
  }
  sMasterConfig.MasterOutputTrigger = TIM_TRGO_RESET;
  sMasterConfig.MasterOutputTrigger2 = TIM_TRGO2_RESET;
  sMasterConfig.MasterSlaveMode = TIM_MASTERSLAVEMODE_DISABLE;
  if (HAL_TIMEx_MasterConfigSynchronization(&htim8, &sMasterConfig) != HAL_OK)
  {
    Error_Handler();
  }
  sConfigOC.OCMode = TIM_OCMODE_PWM1;
  sConfigOC.Pulse = 0;
  sConfigOC.OCPolarity = TIM_OCPOLARITY_HIGH;
  sConfigOC.OCNPolarity = TIM_OCNPOLARITY_HIGH;
  sConfigOC.OCFastMode = TIM_OCFAST_DISABLE;
  sConfigOC.OCIdleState = TIM_OCIDLESTATE_RESET;
  sConfigOC.OCNIdleState = TIM_OCNIDLESTATE_RESET;
  if (HAL_TIM_PWM_ConfigChannel(&htim8, &sConfigOC, TIM_CHANNEL_1) != HAL_OK)
  {
    Error_Handler();
  }
  sBreakDeadTimeConfig.OffStateRunMode = TIM_OSSR_DISABLE;
  sBreakDeadTimeConfig.OffStateIDLEMode = TIM_OSSI_DISABLE;
  sBreakDeadTimeConfig.LockLevel = TIM_LOCKLEVEL_OFF;
  sBreakDeadTimeConfig.DeadTime = 0;
  sBreakDeadTimeConfig.BreakState = TIM_BREAK_DISABLE;
  sBreakDeadTimeConfig.BreakPolarity = TIM_BREAKPOLARITY_HIGH;
  sBreakDeadTimeConfig.BreakFilter = 0;
  sBreakDeadTimeConfig.BreakAFMode = TIM_BREAK_AFMODE_INPUT;
  sBreakDeadTimeConfig.Break2State = TIM_BREAK2_DISABLE;
  sBreakDeadTimeConfig.Break2Polarity = TIM_BREAK2POLARITY_HIGH;
  sBreakDeadTimeConfig.Break2Filter = 0;
  sBreakDeadTimeConfig.Break2AFMode = TIM_BREAK_AFMODE_INPUT;
  sBreakDeadTimeConfig.AutomaticOutput = TIM_AUTOMATICOUTPUT_DISABLE;
  if (HAL_TIMEx_ConfigBreakDeadTime(&htim8, &sBreakDeadTimeConfig) != HAL_OK)
  {
    Error_Handler();
  }
  /* USER CODE BEGIN TIM8_Init 2 */
  /* Force prescaler to STEP_TIM_PSC (1 MHz tick).  CubeMX defaults this to
   * 0 which makes the timer tick at 170 MHz; the stepper rate math assumes
   * a 1 MHz tick, so without this override the pulses come out far too fast
   * for the DM860I to see and the motor is silent.  PSC is shadowed - we
   * write it then pulse EGR.UG so the next pulse comes out correctly. */
  htim8.Instance->PSC = STEP_TIM_PSC;
  htim8.Instance->EGR = TIM_EGR_UG;
  /* USER CODE END TIM8_Init 2 */
  HAL_TIM_MspPostInit(&htim8);

}

static void MX_TIM15_Init(void)
{

  TIM_ClockConfigTypeDef sClockSourceConfig = {0};
  TIM_MasterConfigTypeDef sMasterConfig = {0};
  TIM_OC_InitTypeDef sConfigOC = {0};
  TIM_BreakDeadTimeConfigTypeDef sBreakDeadTimeConfig = {0};

  htim15.Instance = TIM15;
  htim15.Init.Prescaler = 169;
  htim15.Init.CounterMode = TIM_COUNTERMODE_UP;
  htim15.Init.Period = 65535;
  htim15.Init.ClockDivision = TIM_CLOCKDIVISION_DIV1;
  htim15.Init.RepetitionCounter = 0;
  htim15.Init.AutoReloadPreload = TIM_AUTORELOAD_PRELOAD_DISABLE;
  if (HAL_TIM_Base_Init(&htim15) != HAL_OK)
  {
    Error_Handler();
  }
  sClockSourceConfig.ClockSource = TIM_CLOCKSOURCE_INTERNAL;
  if (HAL_TIM_ConfigClockSource(&htim15, &sClockSourceConfig) != HAL_OK)
  {
    Error_Handler();
  }
  if (HAL_TIM_PWM_Init(&htim15) != HAL_OK)
  {
    Error_Handler();
  }
  sMasterConfig.MasterOutputTrigger = TIM_TRGO_RESET;
  sMasterConfig.MasterSlaveMode = TIM_MASTERSLAVEMODE_DISABLE;
  if (HAL_TIMEx_MasterConfigSynchronization(&htim15, &sMasterConfig) != HAL_OK)
  {
    Error_Handler();
  }
  sConfigOC.OCMode = TIM_OCMODE_PWM1;
  sConfigOC.Pulse = 0;
  sConfigOC.OCPolarity = TIM_OCPOLARITY_HIGH;
  sConfigOC.OCNPolarity = TIM_OCNPOLARITY_HIGH;
  sConfigOC.OCFastMode = TIM_OCFAST_DISABLE;
  sConfigOC.OCIdleState = TIM_OCIDLESTATE_RESET;
  sConfigOC.OCNIdleState = TIM_OCNIDLESTATE_RESET;
  if (HAL_TIM_PWM_ConfigChannel(&htim15, &sConfigOC, TIM_CHANNEL_2) != HAL_OK)
  {
    Error_Handler();
  }
  sBreakDeadTimeConfig.OffStateRunMode = TIM_OSSR_DISABLE;
  sBreakDeadTimeConfig.OffStateIDLEMode = TIM_OSSI_DISABLE;
  sBreakDeadTimeConfig.LockLevel = TIM_LOCKLEVEL_OFF;
  sBreakDeadTimeConfig.DeadTime = 0;
  sBreakDeadTimeConfig.BreakState = TIM_BREAK_DISABLE;
  sBreakDeadTimeConfig.BreakPolarity = TIM_BREAKPOLARITY_HIGH;
  sBreakDeadTimeConfig.BreakFilter = 0;
  sBreakDeadTimeConfig.AutomaticOutput = TIM_AUTOMATICOUTPUT_DISABLE;
  if (HAL_TIMEx_ConfigBreakDeadTime(&htim15, &sBreakDeadTimeConfig) != HAL_OK)
  {
    Error_Handler();
  }
  /* USER CODE BEGIN TIM15_Init 2 */
  /* Force prescaler to STEP_TIM_PSC - same reason as TIM8_Init 2.  If the
   * .ioc currently has Prescaler=169 this is a no-op; if a future regen
   * resets it to 0, this line catches it.  PSC is shadowed, so EGR.UG. */
  htim15.Instance->PSC = STEP_TIM_PSC;
  htim15.Instance->EGR = TIM_EGR_UG;
  /* USER CODE END TIM15_Init 2 */
  HAL_TIM_MspPostInit(&htim15);

}

static void MX_GPIO_Init(void)
{
  GPIO_InitTypeDef GPIO_InitStruct = {0};

  /* GPIO Ports Clock Enable */
  __HAL_RCC_GPIOF_CLK_ENABLE();
  __HAL_RCC_GPIOC_CLK_ENABLE();
  __HAL_RCC_GPIOA_CLK_ENABLE();
  __HAL_RCC_GPIOB_CLK_ENABLE();

  /*Configure GPIO pin Output Level */
  HAL_GPIO_WritePin(EN_R_GPIO_Port, EN_R_Pin, GPIO_PIN_RESET);

  /*Configure GPIO pin Output Level */
  HAL_GPIO_WritePin(GPIOB, DIR_R_Pin|DIR_L_Pin|EN_L_Pin, GPIO_PIN_RESET);

  /*Configure GPIO pin : EN_R_Pin */
  GPIO_InitStruct.Pin = EN_R_Pin;
  GPIO_InitStruct.Mode = GPIO_MODE_OUTPUT_PP;
  GPIO_InitStruct.Pull = GPIO_NOPULL;
  GPIO_InitStruct.Speed = GPIO_SPEED_FREQ_LOW;
  HAL_GPIO_Init(EN_R_GPIO_Port, &GPIO_InitStruct);

  /*Configure GPIO pins : PA0 PA1 */
  GPIO_InitStruct.Pin = GPIO_PIN_0|GPIO_PIN_1;
  GPIO_InitStruct.Mode = GPIO_MODE_IT_RISING_FALLING;
  GPIO_InitStruct.Pull = GPIO_PULLUP;
  HAL_GPIO_Init(GPIOA, &GPIO_InitStruct);

  /*Configure GPIO pins : DIR_R_Pin DIR_L_Pin EN_L_Pin */
  GPIO_InitStruct.Pin = DIR_R_Pin|DIR_L_Pin|EN_L_Pin;
  GPIO_InitStruct.Mode = GPIO_MODE_OUTPUT_PP;
  GPIO_InitStruct.Pull = GPIO_NOPULL;
  GPIO_InitStruct.Speed = GPIO_SPEED_FREQ_LOW;
  HAL_GPIO_Init(GPIOB, &GPIO_InitStruct);

  /*Configure GPIO pin : Zero_Steering_Pin */
  GPIO_InitStruct.Pin = Zero_Steering_Pin;
  GPIO_InitStruct.Mode = GPIO_MODE_INPUT;
  GPIO_InitStruct.Pull = GPIO_PULLDOWN;
  HAL_GPIO_Init(Zero_Steering_GPIO_Port, &GPIO_InitStruct);

  /* EXTI interrupt init*/
  HAL_NVIC_SetPriority(EXTI0_IRQn, 0, 0);
  HAL_NVIC_EnableIRQ(EXTI0_IRQn);

  HAL_NVIC_SetPriority(EXTI1_IRQn, 0, 0);
  HAL_NVIC_EnableIRQ(EXTI1_IRQn);

}

void Error_Handler(void)
{
  __disable_irq();
  while (1) {}
}
